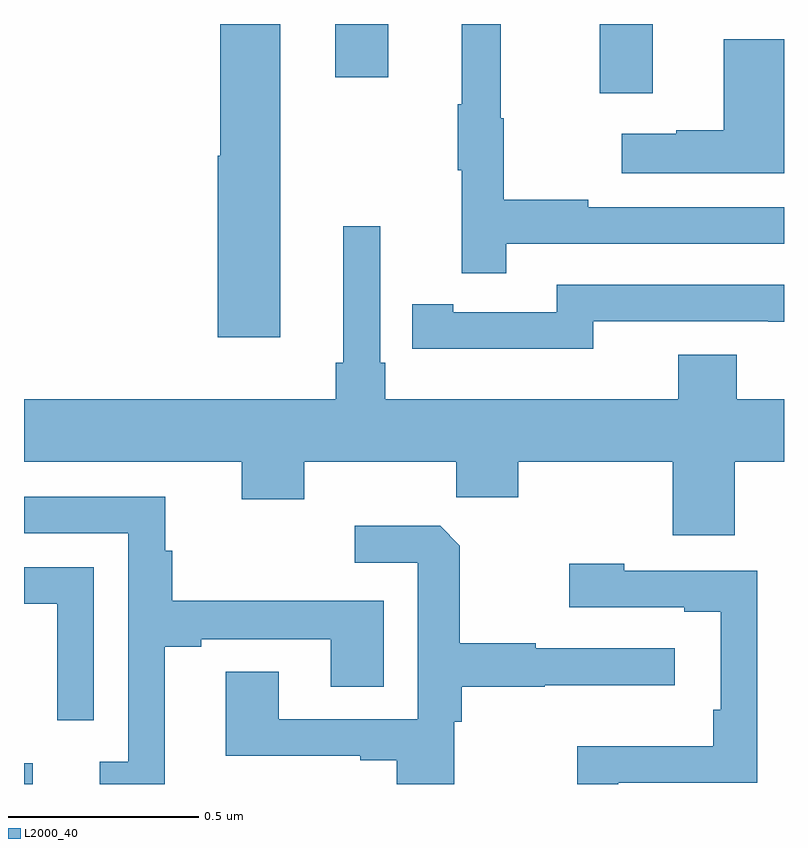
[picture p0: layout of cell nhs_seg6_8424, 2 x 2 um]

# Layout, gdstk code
import gdstk
lib = gdstk.Library(unit=1e-6, precision=1e-09)
def R(c, l, rs):  # rectangles x0, y0, x1, y1
    for r in rs: c.add(gdstk.rectangle(r[:2], r[2:], *l))
def P(c, l, *ps):  # polygons
    for p in ps: c.add(gdstk.Polygon(p, *l))
L2000_40 = (2000, 40)

nhs_seg6_8424 = lib.new_cell('nhs_seg6_8424')
R(nhs_seg6_8424, L2000_40, [(221,934.5,221.023,934.554), (222.515,936.318,222.655,936.5), (221.819,936.36,221.959,936.5)])
P(nhs_seg6_8424, L2000_40, [(222.269,935.922),(223,935.922),(223,936.018),(222.485,936.018),(222.485,936.038),(222.262,936.038),(222.262,936.252),(222.254,936.252),(222.254,936.5),(222.152,936.5),(222.152,936.289),(222.141,936.289),(222.141,936.115),(222.152,936.115),(222.152,935.844),(222.269,935.844)],
  [(221.674,936.5),(221.516,936.5),(221.516,936.153),(221.51,936.153),(221.51,935.676),(221.674,935.676)],
  [(223,936.46),(222.842,936.46),(222.842,936.221),(222.716,936.221),(222.716,936.211),(222.573,936.211),(222.573,936.107),(223,936.107)],
  [(222.871,935.348),(223,935.348),(223,935.512),(222.875,935.512),(222.875,935.629),(222.722,935.629),(222.722,935.512),(221.951,935.512),(221.951,935.608),(221.937,935.608),(221.937,935.968),(221.84,935.968),(221.84,935.608),(221.821,935.608),(221.821,935.512),(221,935.512),(221,935.348),(221.573,935.348),(221.573,935.249),(221.737,935.249),(221.737,935.348),(222.137,935.348),(222.137,935.255),(222.301,935.255),(222.301,935.348),(222.707,935.348),(222.707,935.154),(222.871,935.154)],
  [(222.498,935.718),(222.958,935.718),(222.958,935.717),(223,935.717),(223,935.814),(222.402,935.814),(222.402,935.742),(222.13,935.742),(222.13,935.762),(222.022,935.762),(222.022,935.646),(222.13,935.646),(222.13,935.645),(222.498,935.645)],
  [(221.371,934.861),(221.467,934.861),(221.467,934.881),(221.807,934.881),(221.807,934.756),(221.947,934.756),(221.947,934.982),(221.39,934.982),(221.39,935.114),(221.372,935.114),(221.372,935.256),(221.001,935.256),(221.001,935.16),(221.274,935.16),(221.274,934.558),(221.199,934.558),(221.199,934.5),(221.371,934.5)],
  [(222.132,934.664),(222.152,934.664),(222.152,934.756),(222.371,934.756),(222.371,934.76),(222.712,934.76),(222.712,934.857),(222.347,934.857),(222.347,934.87),(222.147,934.87),(222.147,935.127),(222.095,935.179),(221.871,935.179),(221.871,935.082),(222.036,935.082),(222.036,934.671),(221.671,934.671),(221.671,934.796),(221.531,934.796),(221.531,934.575),(221.885,934.575),(221.885,934.563),(221.981,934.563),(221.981,934.5),(222.132,934.5)],
  [(222.564,934.503),(222.93,934.503),(222.93,935.061),(222.579,935.061),(222.579,935.08),(222.435,935.08),(222.435,934.965),(222.737,934.965),(222.737,934.953),(222.834,934.953),(222.834,934.696),(222.814,934.696),(222.814,934.6),(222.456,934.6),(222.456,934.5),(222.564,934.5)],
  [(221.184,935.07),(221,935.07),(221,934.974),(221.088,934.974),(221.088,934.668),(221.184,934.668)])

lib.write_gds('nhs_seg6_8424.gds')
